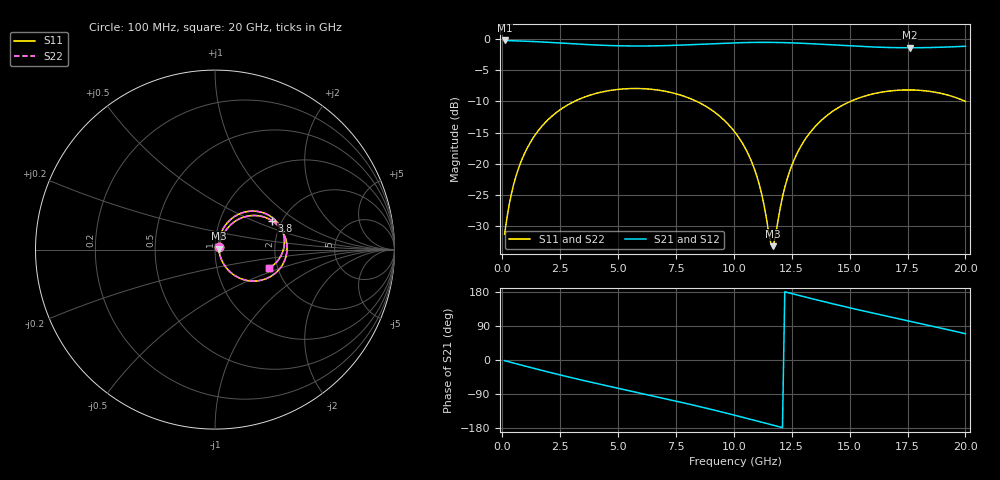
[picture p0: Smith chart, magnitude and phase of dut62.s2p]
! Touchstone file exported from HFSS 2026.1.0
!  File:  C:/ffzhzh/LocalFiles/Ansys_Project_Files/temp_train_TSV_RDL_62_1782968446_15332.aedt
!  Generated:  01:15:57 PM Jul  2, 2026
!  Design:  TSV_RDL
!  Project:  temp_train_TSV_RDL_62_1782968446_15332
! Variables:
!  h_bsmrdl = 4.12um
!  h_ox = 20um
!  h_rdl = 5um
!  h_sub = 87.17um
!  h_tmrdl = 3.79um
!  h_tsv = 87.17um
!  h_via = 3um
!  l_bsmrdl = 589.49um
!  l_sub = 4869.09um
!  l_tmrdl = 645.35um
!  m_sub = 200um
!  pitch = 35.04um
!  r_tsv = 6.1um
!  s_tmrdl = 10um
!  w_bsmrdl = 22.81um
!  w_sub = 500um
!  w_tmrdl = 16.93um
!  x_tsv_center1 = 653.815um
!  x_tsv_center2 = 1266.115um
!  x_tsv_center3 = 1928.395um
!  x_tsv_center4 = 2540.695um
!  x_tsv_center5 = 3202.975um
!  x_tsv_center6 = 3815.275um
# GHz S MA R 50.000000
! Terminal data exported
! Port[1] = TM_RDL1_1_T1
! Port[2] = TM_RDL5_1_T1
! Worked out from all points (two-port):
!   200 points, 100 MHz to 20 GHz, reference 50 ohm
!   highest |S21| = -0.21 dB at 100 MHz (marker M1); lowest = -1.4 dB at 17.6 GHz (marker M2)
!   |S21| within 3 dB of the highest: start of sweep to end of sweep
!   lowest |S11| = -33.3 dB at 11.7 GHz (marker M3), VSWR 1.04, Z = 52.1 + j0.609 ohm
!   |S11| at or under -10 dB: start of sweep to 3.112 GHz; 8.396 GHz to 15.04 GHz (6.64 GHz wide, 56.7 % of centre)
!   |S22| runs from -33.2 to -7.9 dB; largest |S21 - S12| = 1.7e-14
!   S11 on the Smith chart (normalised r, x): 100 MHz: 1.05, +0.03; 3.8 GHz: 1.77, +0.66; 20 GHz: 1.79, -0.42
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0.1  0.02712 29.3  0.9767 -1.7  0.9767 -1.7  0.02712 29.3
! Gamma 0 0 0 0
! Port Impedance 50 0 50 0
0.5  0.06911 58.8  0.9711 -8.3  0.9711 -8.3  0.06911 58.8
1.2  0.1467 59.1  0.9604 -19.5  0.9604 -19.5  0.1467 59.1
2.2  0.2457 48.0  0.9387 -35.0  0.9387 -35.0  0.2457 48.0
3.5  0.3398 31.0  0.9082 -54.0  0.9082 -54.0  0.3398 31.0
3.8  0.3554 27.1  0.9022 -58.2  0.9022 -58.2  0.3554 27.1
5.3  0.3992 7.8  0.8829 -78.6  0.8829 -78.6  0.3992 7.8
6.8  0.3882 -11.3  0.8853 -98.8  0.8853 -98.8  0.3882 -11.3
8.7  0.2955 -36.1  0.9129 -125.6  0.9129 -125.6  0.2955 -36.1
10.1  0.1735 -53.6  0.9354 -146.8  0.9354 -146.8  0.1735 -53.5
11  0.07851 -58.6  0.9427 -160.9  0.9427 -160.9  0.07854 -58.5
11.3  0.04679 -51.8  0.9432 -165.7  0.9432 -165.7  0.04684 -51.7
11.6  0.02258 -12.7  0.9425 -170.5  0.9425 -170.5  0.02269 -12.6
11.7  0.02171 15.6  0.9421 -172.1  0.9421 -172.1  0.02182 15.5
12.1  0.05388 65.5  0.9391 -178.4  0.9391 -178.4  0.05392 65.3
12.4  0.08565 69.8  0.9357 176.8  0.9357 176.8  0.08568 69.7
12.8  0.128 68.6  0.9297 170.6  0.9297 170.6  0.128 68.5
13.4  0.188 62.8  0.9184 161.3  0.9184 161.3  0.1881 62.7
14.8  0.3015 45.4  0.8875 140.6  0.8875 140.6  0.3015 45.4
16.7  0.3827 21.5  0.8573 114.4  0.8573 114.4  0.3827 21.5
17.6  0.391 10.4  0.8534 102.4  0.8534 102.4  0.3911 10.4
20  0.3163 -19.4  0.8772 69.4  0.8772 69.4  0.3163 -19.4
